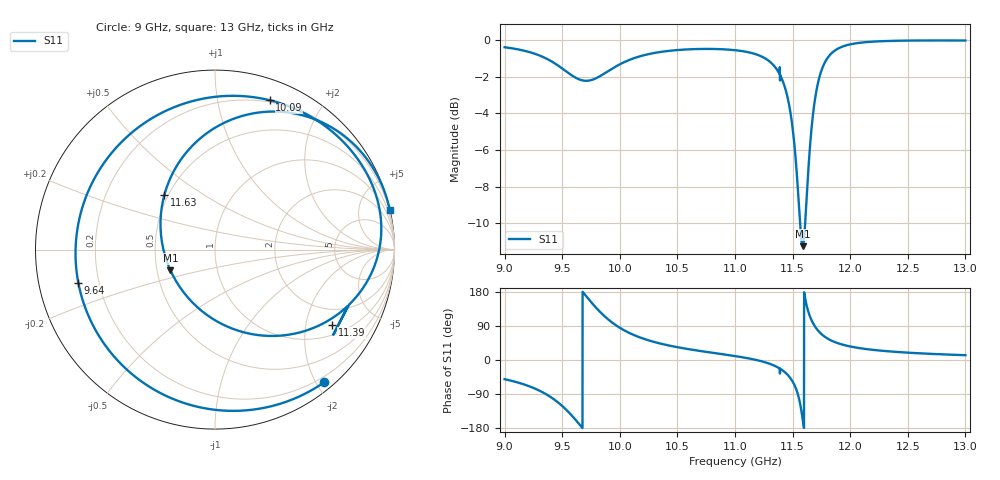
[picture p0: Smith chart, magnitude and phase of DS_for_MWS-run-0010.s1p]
! TOUCHSTONE file generated by CST DESIGN STUDIO
! Date and time: Tue Feb  4 13:54:35 2025
! Project name: C:\Work\MatlabApps\UnitCellOptimizationMatlab\CST\unitcell.cst
! Tree item: Tasks\Sweep1\SPara1\S-Parameters
! Header version: 2024
! Port assignment regex: !\s*Touchstone port\s*([0-9]+)\s*=\s*(CST MWS port|CST DES external port|CST DES block port)\s*(.+)\s* \(\"(.*)\"\)(\s*mode\s*([0-9]+))?.*
! Touchstone port assignment:
! Touchstone port 1 = CST DES external port 1 ("")
# GHz S MA R 50
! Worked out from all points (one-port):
!   4001 points, 9 GHz to 13 GHz, reference 50 ohm
!   lowest |S11| = -11.3 dB at 11.59 GHz (marker M1), VSWR 1.75, Z = 29.4 - j7.27 ohm
!   |S11| at or under -10 dB: 11.56498 GHz to 11.60908 GHz (44.1 MHz wide, 0.381 % of centre)
!   S11 on the Smith chart (normalised r, x): 9 GHz: 0.12, -2.11; 9.64 GHz: 0.12, -0.12; 10.09 GHz: 0.18, +1.42; 11.39 GHz: 1.35, -2.84; 11.63 GHz: 0.48, +0.35; 13 GHz: 0.05, +8.99
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9  0.9573 -50.7
9.134  0.942 -61.1
9.258  0.9198 -74.7
9.394  0.8807 -96.6
9.5  0.8376 -121.3
9.567  0.8085 -141.3
9.64  0.7836 -166.4
9.726  0.7756 161.9
9.826  0.7973 127.7
9.907  0.8267 105.2
10  0.8597 85.0
10.093  0.8864 69.9
10.272  0.9198 49.9
10.5  0.9405 33.8
11  0.9397 10.4
11.253  0.8957 -5.3
11.391  0.7767 -32.6
11.448  0.7157 -36.3
11.5  0.5755 -56.7
11.545  0.3956 -89.5
11.587  0.2738 -155.3
11.631  0.4139 133.1
11.68  0.6388 95.6
11.735  0.7978 72.9
11.844  0.9253 50.2
12  0.9748 35.7
12.5  0.9981 19.4
13  0.9987 12.7
